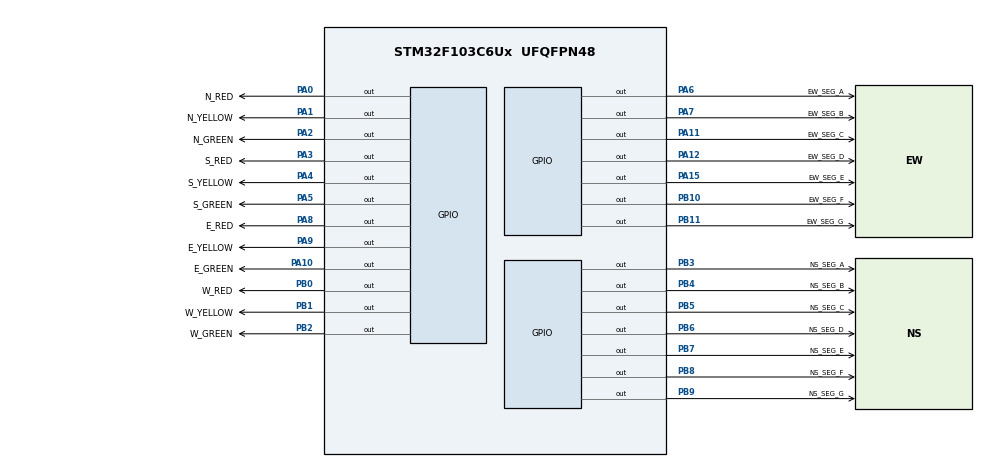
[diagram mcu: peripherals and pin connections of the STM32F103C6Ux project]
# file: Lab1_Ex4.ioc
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Mcu.Family=STM32F1
Mcu.Name=STM32F103C6Ux
Mcu.Package=UFQFPN48
NVIC.PriorityGroup=NVIC_PRIORITYGROUP_4
PA0-WKUP.GPIO_Label=N_RED
PA0-WKUP.Signal=GPIO_Output
PA1.GPIO_Label=N_YELLOW
PA1.Signal=GPIO_Output
PA10.GPIO_Label=E_GREEN
PA10.Signal=GPIO_Output
PA11.GPIO_Label=EW_SEG_C
PA11.Signal=GPIO_Output
PA12.GPIO_Label=EW_SEG_D
PA12.Signal=GPIO_Output
PA13.Mode=Serial_Wire
PA13.Signal=SYS_JTMS-SWDIO
PA14.Mode=Serial_Wire
PA14.Signal=SYS_JTCK-SWCLK
PA15.GPIO_Label=EW_SEG_E
PA15.Signal=GPIO_Output
PA2.GPIO_Label=N_GREEN
PA2.Signal=GPIO_Output
PA3.GPIO_Label=S_RED
PA3.Signal=GPIO_Output
PA4.GPIO_Label=S_YELLOW
PA4.Signal=GPIO_Output
PA5.GPIO_Label=S_GREEN
PA5.Signal=GPIO_Output
PA6.GPIO_Label=EW_SEG_A
PA6.Signal=GPIO_Output
PA7.GPIO_Label=EW_SEG_B
PA7.Signal=GPIO_Output
PA8.GPIO_Label=E_RED
PA8.Signal=GPIO_Output
PA9.GPIO_Label=E_YELLOW
PA9.Signal=GPIO_Output
PB0.GPIO_Label=W_RED
PB0.Signal=GPIO_Output
PB1.GPIO_Label=W_YELLOW
PB1.Signal=GPIO_Output
PB10.GPIO_Label=EW_SEG_F
PB10.Signal=GPIO_Output
PB11.GPIO_Label=EW_SEG_G
PB11.Signal=GPIO_Output
PB2.GPIO_Label=W_GREEN
PB2.Signal=GPIO_Output
PB3.GPIO_Label=NS_SEG_A
PB3.Signal=GPIO_Output
PB4.GPIO_Label=NS_SEG_B
PB4.Signal=GPIO_Output
PB5.GPIO_Label=NS_SEG_C
PB5.Signal=GPIO_Output
PB6.GPIO_Label=NS_SEG_D
PB6.Signal=GPIO_Output
PB7.GPIO_Label=NS_SEG_E
PB7.Signal=GPIO_Output
PB8.GPIO_Label=NS_SEG_F
PB8.Signal=GPIO_Output
PB9.GPIO_Label=NS_SEG_G
PB9.Signal=GPIO_Output
ProjectManager.HeapSize=0x200
ProjectManager.StackSize=0x400
ProjectManager.TargetToolchain=STM32CubeIDE
RCC.APB1Freq_Value=8000000
RCC.APB2Freq_Value=8000000
board=custom

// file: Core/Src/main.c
/* USER CODE BEGIN Header */
/**
  ******************************************************************************
  * @file           : main.c
  * @brief          : Main program body
  ******************************************************************************
  * @attention
  *
  * Copyright (c) 2026 STMicroelectronics.
  * All rights reserved.
  *
  * This software is licensed under terms that can be found in the LICENSE file
  * in the root directory of this software component.
  * If no LICENSE file comes with this software, it is provided AS-IS.
  *
  ******************************************************************************
  */
/* USER CODE END Header */
#include "main.h"

/* USER CODE BEGIN PTD */
typedef enum {
    COLOR_RED,
    COLOR_YELLOW,
    COLOR_GREEN
} Color;

typedef struct {
    Color ns;
    Color ew;
    uint32_t duration;
} Phase;

typedef struct {
    GPIO_TypeDef* port;
    uint16_t pin;
} PinRef;

/* USER CODE END PTD */

/* USER CODE BEGIN PV */
Phase phaseTable[4] = {
    { COLOR_GREEN,  COLOR_RED,     3000 },  // NS Green,  EW Red
    { COLOR_YELLOW, COLOR_RED,     2000 },  // NS Yellow, EW Red
    { COLOR_RED,    COLOR_GREEN,   3000 },  // NS Red,    EW Green
    { COLOR_RED,    COLOR_YELLOW,  2000 }   // NS Red,    EW Yellow
};

int currentPhase = 0;

uint32_t phaseStartTime = 0;

/* 7-segment table
 *
 * bit 0 -> segment A
 * bit 1 -> segment B
 * bit 2 -> segment C
 * bit 3 -> segment D
 * bit 4 -> segment E
 * bit 5 -> segment F
 * bit 6 -> segment G
 *
 * Common Anode
 */
const uint8_t seg_table[10] = {
    0x40,   // 0
    0x79,   // 1
    0x24,   // 2
    0x30,   // 3
    0x19,   // 4
    0x12,   // 5
    0x02,   // 6
    0x78,   // 7
    0x00,   // 8
    0x10    // 9
};

/* Bắc - Nam */
PinRef nsSegPins[7] = {
    {NS_SEG_A_GPIO_Port, NS_SEG_A_Pin},
    {NS_SEG_B_GPIO_Port, NS_SEG_B_Pin},
    {NS_SEG_C_GPIO_Port, NS_SEG_C_Pin},
    {NS_SEG_D_GPIO_Port, NS_SEG_D_Pin},
    {NS_SEG_E_GPIO_Port, NS_SEG_E_Pin},
    {NS_SEG_F_GPIO_Port, NS_SEG_F_Pin},
    {NS_SEG_G_GPIO_Port, NS_SEG_G_Pin}
};

/* Đông - Tây */
PinRef ewSegPins[7] = {
    {EW_SEG_A_GPIO_Port, EW_SEG_A_Pin},
    {EW_SEG_B_GPIO_Port, EW_SEG_B_Pin},
    {EW_SEG_C_GPIO_Port, EW_SEG_C_Pin},
    {EW_SEG_D_GPIO_Port, EW_SEG_D_Pin},
    {EW_SEG_E_GPIO_Port, EW_SEG_E_Pin},
    {EW_SEG_F_GPIO_Port, EW_SEG_F_Pin},
    {EW_SEG_G_GPIO_Port, EW_SEG_G_Pin}
};

/* Countdown độc lập cho 2 hướng */
int lastNS = -1;
int lastEW = -1;
/* USER CODE END PV */

	void SystemClock_Config(void);
	static void MX_GPIO_Init(void);
	/* USER CODE BEGIN PFP */
	void setDirection(Color c,
	                  GPIO_TypeDef *port,
	                  uint16_t redPin,
	                  uint16_t yellowPin,
	                  uint16_t greenPin);

	void enterPhase(int phaseIndex);

	void display7SEGOn(PinRef* pins, int num);

	void calculateCountdown(uint32_t elapsed,
	                        int phaseIndex,
	                        int *nsSeconds,
	                        int *ewSeconds);

	void updateSystem(void);
/* USER CODE END PFP */

int main(void)
{

  /* MCU Configuration--------------------------------------------------------*/

  /* Reset of all peripherals, Initializes the Flash interface and the Systick. */
  HAL_Init();

  /* Configure the system clock */
  SystemClock_Config();

  /* Initialize all configured peripherals */
  MX_GPIO_Init();
  /* USER CODE BEGIN 2 */
  phaseStartTime = HAL_GetTick();
  currentPhase = 0;
  enterPhase(currentPhase);
  lastNS = -1;
  lastEW = -1;
  /* USER CODE END 2 */

  /* Infinite loop */
  while (1)
  {
	  updateSystem();
  }
}

void SystemClock_Config(void)
{
  RCC_OscInitTypeDef RCC_OscInitStruct = {0};
  RCC_ClkInitTypeDef RCC_ClkInitStruct = {0};

  /** Initializes the RCC Oscillators according to the specified parameters
  * in the RCC_OscInitTypeDef structure.
  */
  RCC_OscInitStruct.OscillatorType = RCC_OSCILLATORTYPE_HSI;
  RCC_OscInitStruct.HSIState = RCC_HSI_ON;
  RCC_OscInitStruct.HSICalibrationValue = RCC_HSICALIBRATION_DEFAULT;
  RCC_OscInitStruct.PLL.PLLState = RCC_PLL_NONE;
  if (HAL_RCC_OscConfig(&RCC_OscInitStruct) != HAL_OK)
  {
    Error_Handler();
  }

  /** Initializes the CPU, AHB and APB buses clocks
  */
  RCC_ClkInitStruct.ClockType = RCC_CLOCKTYPE_HCLK|RCC_CLOCKTYPE_SYSCLK
                              |RCC_CLOCKTYPE_PCLK1|RCC_CLOCKTYPE_PCLK2;
  RCC_ClkInitStruct.SYSCLKSource = RCC_SYSCLKSOURCE_HSI;
  RCC_ClkInitStruct.AHBCLKDivider = RCC_SYSCLK_DIV1;
  RCC_ClkInitStruct.APB1CLKDivider = RCC_HCLK_DIV1;
  RCC_ClkInitStruct.APB2CLKDivider = RCC_HCLK_DIV1;

  if (HAL_RCC_ClockConfig(&RCC_ClkInitStruct, FLASH_LATENCY_0) != HAL_OK)
  {
    Error_Handler();
  }
}

static void MX_GPIO_Init(void)
{
  GPIO_InitTypeDef GPIO_InitStruct = {0};

  /* GPIO Ports Clock Enable */
  __HAL_RCC_GPIOA_CLK_ENABLE();
  __HAL_RCC_GPIOB_CLK_ENABLE();

  /*Configure GPIO pin Output Level */
  HAL_GPIO_WritePin(GPIOA, N_RED_Pin|N_YELLOW_Pin|N_GREEN_Pin|S_RED_Pin
                          |S_YELLOW_Pin|S_GREEN_Pin|EW_SEG_A_Pin|EW_SEG_B_Pin
                          |E_RED_Pin|E_YELLOW_Pin|E_GREEN_Pin|EW_SEG_C_Pin
                          |EW_SEG_D_Pin|EW_SEG_E_Pin, GPIO_PIN_RESET);

  /*Configure GPIO pin Output Level */
  HAL_GPIO_WritePin(GPIOB, W_RED_Pin|W_YELLOW_Pin|W_GREEN_Pin|EW_SEG_F_Pin
                          |EW_SEG_G_Pin|NS_SEG_A_Pin|NS_SEG_B_Pin|NS_SEG_C_Pin
                          |NS_SEG_D_Pin|NS_SEG_E_Pin|NS_SEG_F_Pin|NS_SEG_G_Pin, GPIO_PIN_RESET);

  /*Configure GPIO pins : N_RED_Pin N_YELLOW_Pin N_GREEN_Pin S_RED_Pin
                           S_YELLOW_Pin S_GREEN_Pin EW_SEG_A_Pin EW_SEG_B_Pin
                           E_RED_Pin E_YELLOW_Pin E_GREEN_Pin EW_SEG_C_Pin
                           EW_SEG_D_Pin EW_SEG_E_Pin */
  GPIO_InitStruct.Pin = N_RED_Pin|N_YELLOW_Pin|N_GREEN_Pin|S_RED_Pin
                          |S_YELLOW_Pin|S_GREEN_Pin|EW_SEG_A_Pin|EW_SEG_B_Pin
                          |E_RED_Pin|E_YELLOW_Pin|E_GREEN_Pin|EW_SEG_C_Pin
                          |EW_SEG_D_Pin|EW_SEG_E_Pin;
  GPIO_InitStruct.Mode = GPIO_MODE_OUTPUT_PP;
  GPIO_InitStruct.Pull = GPIO_NOPULL;
  GPIO_InitStruct.Speed = GPIO_SPEED_FREQ_LOW;
  HAL_GPIO_Init(GPIOA, &GPIO_InitStruct);

  /*Configure GPIO pins : W_RED_Pin W_YELLOW_Pin W_GREEN_Pin EW_SEG_F_Pin
                           EW_SEG_G_Pin NS_SEG_A_Pin NS_SEG_B_Pin NS_SEG_C_Pin
                           NS_SEG_D_Pin NS_SEG_E_Pin NS_SEG_F_Pin NS_SEG_G_Pin */
  GPIO_InitStruct.Pin = W_RED_Pin|W_YELLOW_Pin|W_GREEN_Pin|EW_SEG_F_Pin
                          |EW_SEG_G_Pin|NS_SEG_A_Pin|NS_SEG_B_Pin|NS_SEG_C_Pin
                          |NS_SEG_D_Pin|NS_SEG_E_Pin|NS_SEG_F_Pin|NS_SEG_G_Pin;
  GPIO_InitStruct.Mode = GPIO_MODE_OUTPUT_PP;
  GPIO_InitStruct.Pull = GPIO_NOPULL;
  GPIO_InitStruct.Speed = GPIO_SPEED_FREQ_LOW;
  HAL_GPIO_Init(GPIOB, &GPIO_InitStruct);

}

/* USER CODE BEGIN 4 */
/* USER CODE BEGIN 4 */

/* ============================================================
 * SET TRAFFIC LIGHT DIRECTION
 * ============================================================ */
void setDirection(Color c,
                  GPIO_TypeDef *port,
                  uint16_t redPin,
                  uint16_t yellowPin,
                  uint16_t greenPin)
{
    HAL_GPIO_WritePin(
        port,
        redPin,
        (c == COLOR_RED) ? GPIO_PIN_SET : GPIO_PIN_RESET
    );

    HAL_GPIO_WritePin(
        port,
        yellowPin,
        (c == COLOR_YELLOW) ? GPIO_PIN_SET : GPIO_PIN_RESET
    );

    HAL_GPIO_WritePin(
        port,
        greenPin,
        (c == COLOR_GREEN) ? GPIO_PIN_SET : GPIO_PIN_RESET
    );
}

/* ============================================================
 * ENTER NEW PHASE
 * ============================================================ */
void enterPhase(int phaseIndex)
{
    Phase p = phaseTable[phaseIndex];

    /*
     * Bắc
     */
    setDirection(
        p.ns,
        GPIOA,
        N_RED_Pin,
        N_YELLOW_Pin,
        N_GREEN_Pin
    );

    /*
     * Nam
     */
    setDirection(
        p.ns,
        GPIOA,
        S_RED_Pin,
        S_YELLOW_Pin,
        S_GREEN_Pin
    );

    /*
     * Đông
     */
    setDirection(
        p.ew,
        GPIOA,
        E_RED_Pin,
        E_YELLOW_Pin,
        E_GREEN_Pin
    );

    /*
     * Tây
     */
    setDirection(
        p.ew,
        GPIOB,
        W_RED_Pin,
        W_YELLOW_Pin,
        W_GREEN_Pin
    );
}

/* ============================================================
 * DISPLAY ONE DIGIT ON 7-SEGMENT
 * ============================================================ */
void display7SEGOn(PinRef* pins, int num)
{
    if (num < 0 || num > 9)
        return;

    uint8_t pattern = seg_table[num];

    for (int i = 0; i < 7; i++)
    {
        GPIO_PinState state;

        if ((pattern >> i) & 0x01)
        {
            state = GPIO_PIN_SET;
        }
        else
        {
            state = GPIO_PIN_RESET;
        }

        HAL_GPIO_WritePin(
            pins[i].port,
            pins[i].pin,
            state
        );
    }
}

/* ============================================================
 * CALCULATE COUNTDOWN
 *
 * NS and EW are calculated independently.
 *
 * Phase 0:
 *   NS GREEN  = 3 -> 2 -> 1
 *   EW RED    = 5 -> 4 -> 3
 *
 * Phase 1:
 *   NS YELLOW = 2 -> 1
 *   EW RED    = 2 -> 1
 *
 * Phase 2:
 *   NS RED    = 5 -> 4 -> 3
 *   EW GREEN  = 3 -> 2 -> 1
 *
 * Phase 3:
 *   NS RED    = 2 -> 1
 *   EW YELLOW = 2 -> 1
 * ============================================================ */
void calculateCountdown(uint32_t elapsed,
                        int phaseIndex,
                        int *nsSeconds,
                        int *ewSeconds)
{
    uint32_t remaining;

    switch (phaseIndex)
    {
        /* ====================================================
         * PHASE 0
         *
         * NS = GREEN 3s
         * EW = RED   5s
         * ==================================================== */
        case 0:

            /*
             * NS:
             * 3000ms -> 3
             * 2000ms -> 2
             * 1000ms -> 1
             */
            remaining = 3000 - elapsed;

            *nsSeconds = (remaining + 999) / 1000;

            /*
             * EW RED:
             * 5000ms -> 5
             * 4000ms -> 4
             * 3000ms -> 3
             */
            *ewSeconds = 5 - (elapsed / 1000);

            break;

        /* ====================================================
         * PHASE 1
         *
         * NS = YELLOW 2s
         * EW = RED    2s
         * ==================================================== */
        case 1:

            remaining = 2000 - elapsed;

            /*
             * NS:
             * 2 -> 1
             */
            *nsSeconds = (remaining + 999) / 1000;

            /*
             * EW:
             * 2 -> 1
             */
            *ewSeconds = (remaining + 999) / 1000;

            break;

        /* ====================================================
         * PHASE 2
         *
         * NS = RED   5s
         * EW = GREEN 3s
         * ==================================================== */
        case 2:

            /*
             * NS RED:
             *
             * Phase 2 starts after NS has already been
             * RED for 0ms.
             *
             * Therefore:
             * 5 -> 4 -> 3
             */
            *nsSeconds = 5 - (elapsed / 1000);

            /*
             * EW GREEN:
             *
             * 3 -> 2 -> 1
             */
            remaining = 3000 - elapsed;

            *ewSeconds = (remaining + 999) / 1000;

            break;

        /* ====================================================
         * PHASE 3
         *
         * NS = RED    2s
         * EW = YELLOW 2s
         * ==================================================== */
        case 3:

            remaining = 2000 - elapsed;

            /*
             * NS RED:
             * 2 -> 1
             */
            *nsSeconds = (remaining + 999) / 1000;

            /*
             * EW YELLOW:
             * 2 -> 1
             */
            *ewSeconds = (remaining + 999) / 1000;

            break;

        default:

            *nsSeconds = 1;
            *ewSeconds = 1;

            break;
    }

    /* ========================================================
     * LIMIT VALUE FOR 7-SEGMENT
     * ======================================================== */

    if (*nsSeconds < 1)
        *nsSeconds = 1;

    if (*ewSeconds < 1)
        *ewSeconds = 1;

    if (*nsSeconds > 9)
        *nsSeconds = 9;

    if (*ewSeconds > 9)
        *ewSeconds = 9;
}

/* ============================================================
 * UPDATE TRAFFIC LIGHT + COUNTDOWN
 * ============================================================ */
void updateSystem(void)
{
    uint32_t now = HAL_GetTick();

    uint32_t elapsed = now - phaseStartTime;

    uint32_t duration = phaseTable[currentPhase].duration;

    /* ========================================================
     * CHECK PHASE TIMEOUT
     * ======================================================== */

    if (elapsed >= duration)
    {
        /*
         * Chuyển sang phase tiếp theo
         */
        currentPhase = (currentPhase + 1) % 4;

        /*
         * Reset thời gian bắt đầu phase
         */
        phaseStartTime = now;

        /*
         * Cập nhật đèn giao thông
         */
        enterPhase(currentPhase);

        /*
         * Reset countdown
         *
         * Bắt buộc cập nhật lại LED ngay cả khi giá trị
         * trùng với phase trước.
         */
        lastNS = -1;
        lastEW = -1;

        /*
         * Phase mới bắt đầu từ 0ms
         */
        elapsed = 0;
    }

    /* ========================================================
     * CALCULATE COUNTDOWN FOR EACH DIRECTION
     * ======================================================== */

    int nsSecondsLeft;
    int ewSecondsLeft;

    calculateCountdown(
        elapsed,
        currentPhase,
        &nsSecondsLeft,
        &ewSecondsLeft
    );

    /* ========================================================
     * UPDATE NORTH-SOUTH 7-SEGMENT
     * ======================================================== */

    if (nsSecondsLeft != lastNS)
    {
        display7SEGOn(
            nsSegPins,
            nsSecondsLeft
        );

        lastNS = nsSecondsLeft;
    }

    /* ========================================================
     * UPDATE EAST-WEST 7-SEGMENT
     * ======================================================== */

    if (ewSecondsLeft != lastEW)
    {
        display7SEGOn(
            ewSegPins,
            ewSecondsLeft
        );

        lastEW = ewSecondsLeft;
    }
}

/* USER CODE END 4 */
/* USER CODE END 4 */

void Error_Handler(void)
{
  __disable_irq();
  while (1)
  {
  }
}
